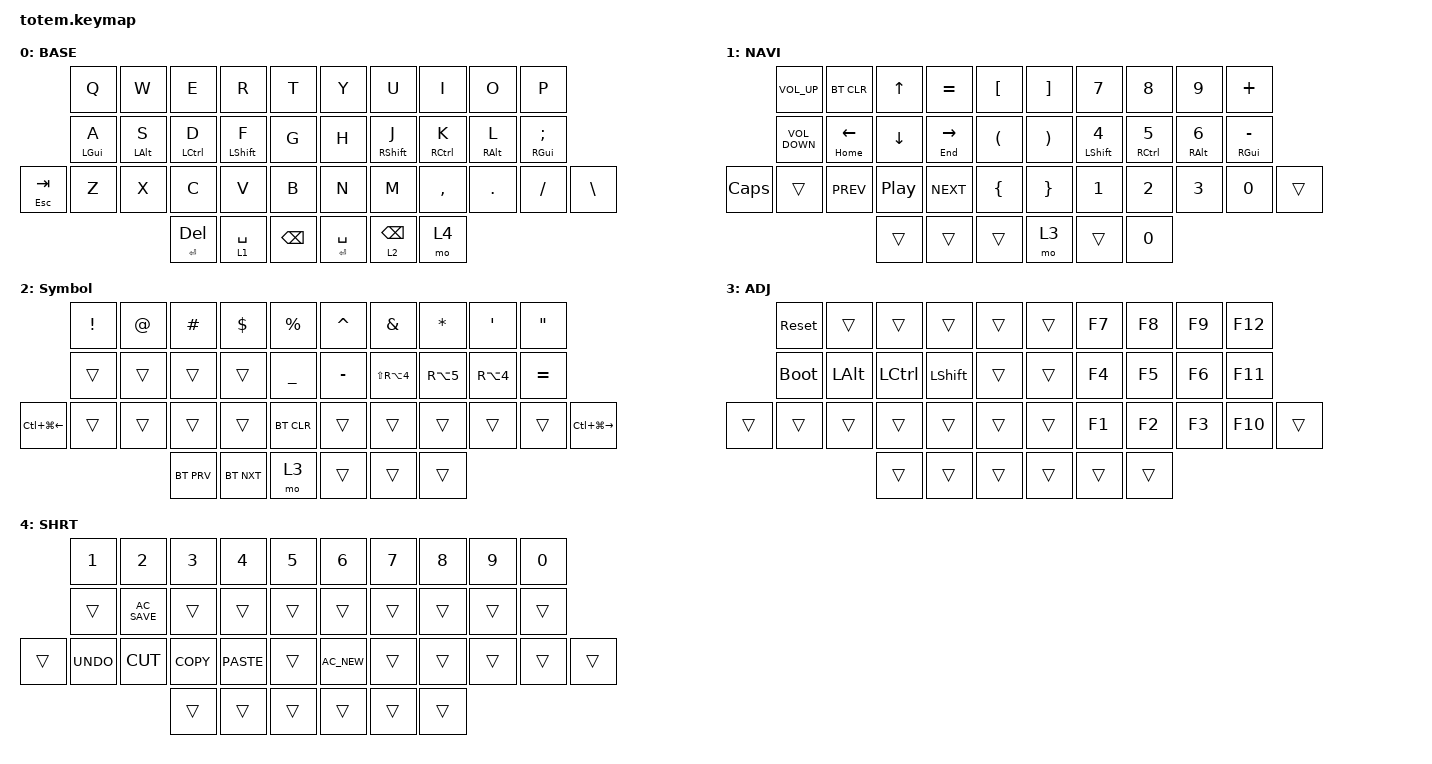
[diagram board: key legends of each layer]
//
//                                                        ▀▀▀▀▀     ▀▀▀▀▀          ▀▀█▀▀
//                                                        ▄▀▀▀▄  ▄  ▄▀▀▀▄  ▄  ▄▀▀▀▄  █  ▄▀▀▀▄
//                                                        █   █  █  █   █  █  █   █  █  █   █
//                                                         ▀▀▀   █   ▀▀▀   █   ▀▀▀   ▀   ▀▀▀
//                                                               █      ▄▄▄█▄▄▄    █   █  
//                                                               ▀      █  █  █     █▄█
//                                                             ▀▀▀▀▀    █  █  █      ▀
//                                                                      ▀  ▀  ▀
//
// ▄▄▄▄▄▄▄▄▄▄▄▄▄▄▄▄▄▄▄▄▄▄▄▄▄▄▄▄▄▄▄▄▄▄▄▄▄▄▄▄▄▄▄▄▄▄▄▄▄▄▄▄▄▄▄▄▄▄▄▄▄▄▄▄▄▄▄▄▄▄▄▄▄▄▄▄▄▄▄▄▄▄▄▄▄▄▄▄▄▄▄▄▄▄▄▄▄▄▄▄▄▄▄▄▄▄▄▄▄▄▄▄▄▄▄▄▄▄▄▄▄▄▄▄▄▄▄▄▄▄▄▄▄▄▄▄▄▄▄▄▄▄▄▄▄▄▄▄▄

#include <behaviors.dtsi>
#include <dt-bindings/zmk/bt.h>
#include <dt-bindings/zmk/keys.h>

#define BASE 0
#define NAV  1
#define SYM  2
#define ADJ  3
#define ADJ  4

&mt {
    quick-tap-ms = <100>;
    global-quick-tap;
    flavor = "tap-preferred";
    tapping-term-ms = <170>;
};

/ {
    combos {
        compatible = "zmk,combos";

        combo_esc {
            timeout-ms = <50>;
            key-positions = <0 1>;
            bindings = <&kp ESC>;
        };

        SHRT {
            bindings = <&mo 4>;
            key-positions = <20 21>;
        };

        nxtline {
            bindings = <&kp RETURN>;
            key-positions = <34 35>;
        };

        tbz {
            bindings = <&kp TAB>;
            key-positions = <20 10>;
        };

        mute {
            bindings = <&kp K_MUTE>;
            key-positions = <0 10>;
            layers = <1>;
        };
    };

    keymap {
        compatible = "zmk,keymap";

        // ▄▄▄▄▄▄▄▄▄▄▄▄▄▄▄▄▄▄▄▄▄▄▄▄▄▄▄▄▄▄▄▄▄▄▄▄▄▄▄▄▄▄▄▄▄▄▄▄▄▄▄▄▄▄▄▄▄▄▄▄▄▄▄▄▄▄▄▄▄▄▄▄▄▄▄▄▄▄▄▄▄▄▄▄▄▄▄▄▄▄▄▄▄▄▄▄▄▄▄▄▄▄▄▄▄▄▄▄▄▄▄▄▄▄▄▄▄▄▄▄▄▄▄▄▄▄▄▄▄▄▄▄▄▄▄▄▄▄▄▄▄▄▄▄▄▄▄▄▄

        base_layer {
            // ┏━━━━━━━━━━━━━━━━━━━━━━━━━━━━━━━━━━━━━━━┓

            label = "BASE";

            // ┗━━━━━━━━━━━━━━━━━━━━━━━━━━━━━━━━━━━━━━━┛
            //             ┏━━━━━━━━━━━┳━━━━━━━━━━━┳━━━━━━━━━━━┳━━━━━━━━━━━┳━━━━━━━━━━━┓   ┏━━━━━━━━━━━┳━━━━━━━━━━━┳━━━━━━━━━━━┳━━━━━━━━━━━┳━━━━━━━━━━━┓
            //             ┃     Q     ┃     W     ┃     E     ┃     R     ┃     T     ┃   ┃     Y     ┃     U     ┃     I     ┃     O     ┃     P     ┃
            //             ┣━━━━━━━━━━━╋━━━━━━━━━━━╋━━━━━━━━━━━╋━━━━━━━━━━━╋━━━━━━━━━━━┫   ┣━━━━━━━━━━━╋━━━━━━━━━━━╋━━━━━━━━━━━╋━━━━━━━━━━━╋━━━━━━━━━━━┫
            //             ┃     A     ┃     S     ┃     D     ┃     F     ┃     G     ┃   ┃     H     ┃     J     ┃     K     ┃     L     ┃     ;     ┃
            // ┏━━━━━━━━━━━╋━━━━━━━━━━━╋━━━━━━━━━━━╋━━━━━━━━━━━╋━━━━━━━━━━━╋━━━━━━━━━━━┫   ┣━━━━━━━━━━━╋━━━━━━━━━━━╋━━━━━━━━━━━╋━━━━━━━━━━━╋━━━━━━━━━━━╋━━━━━━━━━━━┓
            // ┃     Q     ┃     Z     ┃     X     ┃     C     ┃     V     ┃     B     ┃   ┃     N     ┃     M     ┃     ,     ┃     .     ┃     /     ┃     \     ┃
            // ┗━━━━━━━━━━━┻━━━━━━━━━━━┻━━━━━━━━━━━╋━━━━━━━━━━━╋━━━━━━━━━━━╋━━━━━━━━━━━┫   ┣━━━━━━━━━━━╋━━━━━━━━━━━╋━━━━━━━━━━━╋━━━━━━━━━━━┻━━━━━━━━━━━┻━━━━━━━━━━━┛
            //                                     ┃    DEL    ┃    TAB    ┃    SPC    ┃   ┃   ENTER   ┃           ┃   BSPC    ┃
            //                                     ┗━━━━━━━━━━━┻━━━━━━━━━━━┻━━━━━━━━━━━┛   ┗━━━━━━━━━━━┻━━━━━━━━━━━┻━━━━━━━━━━━┛

            bindings = <
                &kp Q       &kp W       &kp E             &kp R        &kp T            &kp Y            &kp U            &kp I        &kp O       &kp P
                &mt LGUI A  &mt LALT S  &mt LCTRL D       &mt LSHFT F  &kp G            &kp H            &mt RSHFT J      &mt RCTRL K  &mt RALT L  &mt RGUI SEMI
&mt ESCAPE TAB  &kp Z       &kp X       &kp C             &kp V        &kp B            &kp N            &kp M            &kp COMMA    &kp DOT     &kp FSLH       &kp BSLH
                                        &mt ENTER DELETE  &lt 1 SPACE  &kp BACKSPACE    &mt ENTER SPACE  &lt 2 BACKSPACE  &mo 4
            >;
        };

        // ▄▄▄▄▄▄▄▄▄▄▄▄▄▄▄▄▄▄▄▄▄▄▄▄▄▄▄▄▄▄▄▄▄▄▄▄▄▄▄▄▄▄▄▄▄▄▄▄▄▄▄▄▄▄▄▄▄▄▄▄▄▄▄▄▄▄▄▄▄▄▄▄▄▄▄▄▄▄▄▄▄▄▄▄▄▄▄▄▄▄▄▄▄▄▄▄▄▄▄▄▄▄▄▄▄▄▄▄▄▄▄▄▄▄▄▄▄▄▄▄▄▄▄▄▄▄▄▄▄▄▄▄▄▄▄▄▄▄▄▄▄▄▄▄▄▄▄▄▄

        nav_layer {
            // ┏━━━━━━━━━━━━━━━━━━━━━━━━━━━━━━━━━━━━━━━┓

            label = "NAVI";

            // ┗━━━━━━━━━━━━━━━━━━━━━━━━━━━━━━━━━━━━━━━┛
            //             ┏━━━━━━━━━━━┳━━━━━━━━━━━┳━━━━━━━━━━━┳━━━━━━━━━━━┳━━━━━━━━━━━┓   ┏━━━━━━━━━━━┳━━━━━━━━━━━┳━━━━━━━━━━━┳━━━━━━━━━━━┳━━━━━━━━━━━┓
            //             ┃           ┃           ┃     UP    ┃           ┃     {     ┃   ┃     }     ┃     7     ┃     8     ┃     9     ┃     +     ┃
            //             ┣━━━━━━━━━━━╋━━━━━━━━━━━╋━━━━━━━━━━━╋━━━━━━━━━━━╋━━━━━━━━━━━┫   ┣━━━━━━━━━━━╋━━━━━━━━━━━╋━━━━━━━━━━━╋━━━━━━━━━━━╋━━━━━━━━━━━┫
            //             ┃   SHIFT   ┃   LEFT    ┃    DOWN   ┃   RIGHT   ┃     [     ┃   ┃     ]     ┃     4     ┃     5     ┃     6     ┃     -     ┃
            // ┏━━━━━━━━━━━╋━━━━━━━━━━━╋━━━━━━━━━━━╋━━━━━━━━━━━╋━━━━━━━━━━━╋━━━━━━━━━━━┫   ┣━━━━━━━━━━━╋━━━━━━━━━━━╋━━━━━━━━━━━╋━━━━━━━━━━━╋━━━━━━━━━━━╋━━━━━━━━━━━┓
            // ┃           ┃           ┃   P UP    ┃  C LOCK   ┃  P DOWN   ┃     (     ┃   ┃     )     ┃     1     ┃     2     ┃     3     ┃     *     ┃           ┃
            // ┗━━━━━━━━━━━┻━━━━━━━━━━━┻━━━━━━━━━━━╋━━━━━━━━━━━╋━━━━━━━━━━━╋━━━━━━━━━━━┫   ┣━━━━━━━━━━━╋━━━━━━━━━━━╋━━━━━━━━━━━╋━━━━━━━━━━━┻━━━━━━━━━━━┻━━━━━━━━━━━┛
            //                                     ┃           ┃    TAB    ┃    SPC    ┃   ┃    DEL    ┃     0     ┃           ┃
            //                                     ┗━━━━━━━━━━━┻━━━━━━━━━━━┻━━━━━━━━━━━┛   ┗━━━━━━━━━━━┻━━━━━━━━━━━┻━━━━━━━━━━━┛

            bindings = <
          &kp C_VOLUME_UP    &bt BT_CLR           &kp UP_ARROW      &kp EQUAL            &kp LEFT_BRACKET        &kp RIGHT_BRACKET      &kp NUMBER_7             &kp NUMBER_8  &kp NUMBER_9            &kp PLUS
          &kp C_VOLUME_DOWN  &mt HOME LEFT_ARROW  &kp DOWN          &mt END RIGHT_ARROW  &kp LEFT_PARENTHESIS    &kp RIGHT_PARENTHESIS  &mt LEFT_SHIFT NUMBER_4  &mt RCTRL N5  &mt RIGHT_ALT NUMBER_6  &mt RGUI MINUS
&kp CAPS  &trans             &kp C_PREV           &kp C_PLAY_PAUSE  &kp C_NEXT           &kp LEFT_BRACE          &kp RIGHT_BRACE        &kp NUMBER_1             &kp NUMBER_2  &kp NUMBER_3            &kp NUMBER_0    &trans
                                                  &trans            &trans               &trans                  &mo 3                  &trans                   &kp N0
            >;
        };

        // ▄▄▄▄▄▄▄▄▄▄▄▄▄▄▄▄▄▄▄▄▄▄▄▄▄▄▄▄▄▄▄▄▄▄▄▄▄▄▄▄▄▄▄▄▄▄▄▄▄▄▄▄▄▄▄▄▄▄▄▄▄▄▄▄▄▄▄▄▄▄▄▄▄▄▄▄▄▄▄▄▄▄▄▄▄▄▄▄▄▄▄▄▄▄▄▄▄▄▄▄▄▄▄▄▄▄▄▄▄▄▄▄▄▄▄▄▄▄▄▄▄▄▄▄▄▄▄▄▄▄▄▄▄▄▄▄▄▄▄▄▄▄▄▄▄▄▄▄▄
        // ▄▄▄▄▄▄▄▄▄▄▄▄▄▄▄▄▄▄▄▄▄▄▄▄▄▄▄▄▄▄▄▄▄▄▄▄▄▄▄▄▄▄▄▄▄▄▄▄▄▄▄▄▄▄▄▄▄▄▄▄▄▄▄▄▄▄▄▄▄▄▄▄▄▄▄▄▄▄▄▄▄▄▄▄▄▄▄▄▄▄▄▄▄▄▄▄▄▄▄▄▄▄▄▄▄▄▄▄▄▄▄▄▄▄▄▄▄▄▄▄▄▄▄▄▄

        Symbol {
            // ┌───────────────────────────────────────────────────────────┐

            label = "Symbol";

            // └───────────────────────────────────────────────────────────┘
            //             ┏━━━━━━━━━━━┳━━━━━━━━━━━┳━━━━━━━━━━━┳━━━━━━━━━━━┳━━━━━━━━━━━┓   ┏━━━━━━━━━━━┳━━━━━━━━━━━┳━━━━━━━━━━━┳━━━━━━━━━━━┳━━━━━━━━━━━┓
            //             ┃     Q     ┃     W     ┃     F     ┃     P     ┃     B     ┃   ┃     J     ┃     L     ┃     U     ┃     Y     ┃     ;     ┃
            //             ┣━━━━━━━━━━━╋━━━━━━━━━━━╋━━━━━━━━━━━╋━━━━━━━━━━━╋━━━━━━━━━━━┫   ┣━━━━━━━━━━━╋━━━━━━━━━━━╋━━━━━━━━━━━╋━━━━━━━━━━━╋━━━━━━━━━━━┫
            //             ┃     A     ┃     R     ┃     S     ┃     T     ┃     G     ┃   ┃     M     ┃     N     ┃     E     ┃     I     ┃     O     ┃
            // ┏━━━━━━━━━━━╋━━━━━━━━━━━╋━━━━━━━━━━━╋━━━━━━━━━━━╋━━━━━━━━━━━╋━━━━━━━━━━━┫   ┣━━━━━━━━━━━╋━━━━━━━━━━━╋━━━━━━━━━━━╋━━━━━━━━━━━╋━━━━━━━━━━━╋━━━━━━━━━━━┓
            // ┃           ┃     Z     ┃     X     ┃     C     ┃      D    ┃     V     ┃   ┃     K     ┃     H     ┃     ,     ┃     .     ┃     \     ┃           ┃
            // ┗━━━━━━━━━━━┻━━━━━━━━━━━┻━━━━━━━━━━━╋━━━━━━━━━━━╋━━━━━━━━━━━╋━━━━━━━━━━━┫   ┣━━━━━━━━━━━╋━━━━━━━━━━━╋━━━━━━━━━━━╋━━━━━━━━━━━┻━━━━━━━━━━━┻━━━━━━━━━━━┛
            //                                     ┃           ┃    GIF    ┃    ADJ    ┃   ┃           ┃           ┃           ┃
            //                                     ┗━━━━━━━━━━━┻━━━━━━━━━━━┻━━━━━━━━━━━┛   ┗━━━━━━━━━━━┻━━━━━━━━━━━┻━━━━━━━━━━━┛

            bindings = <
                        &kp EXCL  &kp AT  &kp HASH    &kp DLLR    &kp PRCNT         &kp CARET  &kp AMPS        &kp ASTERISK  &kp SQT     &kp DQT
                        &trans    &trans  &trans      &trans      &kp UNDERSCORE    &kp MINUS  &kp LS(RA(N4))  &kp RA(N5)    &kp RA(N4)  &kp EQUAL
&kp LC(LG(LEFT_ARROW))  &trans    &trans  &trans      &trans      &bt BT_CLR        &trans     &trans          &trans        &trans      &trans     &kp LC(LG(RIGHT))
                                          &bt BT_PRV  &bt BT_NXT  &mo 3             &trans     &trans          &trans
            >;
        };

        // ▄▄▄▄▄▄▄▄▄▄▄▄▄▄▄▄▄▄▄▄▄▄▄▄▄▄▄▄▄▄▄▄▄▄▄▄▄▄▄▄▄▄▄▄▄▄▄▄▄▄▄▄▄▄▄▄▄▄▄▄▄▄▄▄▄▄▄▄▄▄▄▄▄▄▄▄▄▄▄▄▄▄▄▄▄▄▄▄▄▄▄▄▄▄▄▄▄▄▄▄▄▄▄▄▄▄▄▄▄▄▄▄▄▄▄▄▄▄▄▄▄▄▄▄▄▄▄▄▄▄▄▄▄▄▄▄▄▄▄▄▄▄▄▄▄▄▄▄▄

        adjust_layer {
            // ┏━━━━━━━━━━━━━━━━━━━━━━━━━━━━━━━━━━━━━━━┓

            label = "ADJ";

            // ┗━━━━━━━━━━━━━━━━━━━━━━━━━━━━━━━━━━━━━━━┛
            //             ┏━━━━━━━━━━━┳━━━━━━━━━━━┳━━━━━━━━━━━┳━━━━━━━━━━━┳━━━━━━━━━━━┓   ┏━━━━━━━━━━━┳━━━━━━━━━━━┳━━━━━━━━━━━┳━━━━━━━━━━━┳━━━━━━━━━━━┓
            //             ┃   RESET   ┃ BT CLEAR  ┃  OUT TOG  ┃           ┃           ┃   ┃           ┃    F7     ┃    F8     ┃    F9     ┃    F12    ┃
            //             ┣━━━━━━━━━━━╋━━━━━━━━━━━╋━━━━━━━━━━━╋━━━━━━━━━━━╋━━━━━━━━━━━┫   ┣━━━━━━━━━━━╋━━━━━━━━━━━╋━━━━━━━━━━━╋━━━━━━━━━━━╋━━━━━━━━━━━┫
            //             ┃ BOOTLOAD  ┃ BT NEXT   ┃           ┃           ┃           ┃   ┃           ┃    F4     ┃    F5     ┃    F6     ┃    F11    ┃
            // ┏━━━━━━━━━━━╋━━━━━━━━━━━╋━━━━━━━━━━━╋━━━━━━━━━━━╋━━━━━━━━━━━╋━━━━━━━━━━━┫   ┣━━━━━━━━━━━╋━━━━━━━━━━━╋━━━━━━━━━━━╋━━━━━━━━━━━╋━━━━━━━━━━━╋━━━━━━━━━━━┓
            // ┃           ┃           ┃ BT PREV   ┃           ┃           ┃           ┃   ┃           ┃    F1     ┃    F2     ┃    F3     ┃    F10    ┃           ┃
            // ┗━━━━━━━━━━━┻━━━━━━━━━━━┻━━━━━━━━━━━╋━━━━━━━━━━━╋━━━━━━━━━━━╋━━━━━━━━━━━┫   ┣━━━━━━━━━━━╋━━━━━━━━━━━╋━━━━━━━━━━━╋━━━━━━━━━━━┻━━━━━━━━━━━┻━━━━━━━━━━━┛
            //                                     ┃           ┃           ┃           ┃   ┃           ┃           ┃           ┃
            //                                     ┗━━━━━━━━━━━┻━━━━━━━━━━━┻━━━━━━━━━━━┛   ┗━━━━━━━━━━━┻━━━━━━━━━━━┻━━━━━━━━━━━┛

            bindings = <
        &sys_reset   &trans        &trans     &trans          &trans    &trans  &kp F7  &kp F8  &kp F9  &kp F12
        &bootloader  &kp LEFT_ALT  &kp LCTRL  &kp LEFT_SHIFT  &trans    &trans  &kp F4  &kp F5  &kp F6  &kp F11
&trans  &trans       &trans        &trans     &trans          &trans    &trans  &kp F1  &kp F2  &kp F3  &kp F10  &trans
                                   &trans     &trans          &trans    &trans  &trans  &trans
            >;
        };

        SHRT_layer {
            // ┏━━━━━━━━━━━━━━━━━━━━━━━━━━━━━━━━━━━━━━━┓

            label = "SHRT";

            // ┗━━━━━━━━━━━━━━━━━━━━━━━━━━━━━━━━━━━━━━━┛
            //             ┏━━━━━━━━━━━┳━━━━━━━━━━━┳━━━━━━━━━━━┳━━━━━━━━━━━┳━━━━━━━━━━━┓   ┏━━━━━━━━━━━┳━━━━━━━━━━━┳━━━━━━━━━━━┳━━━━━━━━━━━┳━━━━━━━━━━━┓
            //             ┃   RESET   ┃ BT CLEAR  ┃  OUT TOG  ┃           ┃           ┃   ┃           ┃    F7     ┃    F8     ┃    F9     ┃    F12    ┃
            //             ┣━━━━━━━━━━━╋━━━━━━━━━━━╋━━━━━━━━━━━╋━━━━━━━━━━━╋━━━━━━━━━━━┫   ┣━━━━━━━━━━━╋━━━━━━━━━━━╋━━━━━━━━━━━╋━━━━━━━━━━━╋━━━━━━━━━━━┫
            //             ┃ BOOTLOAD  ┃ BT NEXT   ┃           ┃           ┃           ┃   ┃           ┃    F4     ┃    F5     ┃    F6     ┃    F11    ┃
            // ┏━━━━━━━━━━━╋━━━━━━━━━━━╋━━━━━━━━━━━╋━━━━━━━━━━━╋━━━━━━━━━━━╋━━━━━━━━━━━┫   ┣━━━━━━━━━━━╋━━━━━━━━━━━╋━━━━━━━━━━━╋━━━━━━━━━━━╋━━━━━━━━━━━╋━━━━━━━━━━━┓
            // ┃           ┃           ┃ BT PREV   ┃           ┃           ┃           ┃   ┃           ┃    F1     ┃    F2     ┃    F3     ┃    F10    ┃           ┃
            // ┗━━━━━━━━━━━┻━━━━━━━━━━━┻━━━━━━━━━━━╋━━━━━━━━━━━╋━━━━━━━━━━━╋━━━━━━━━━━━┫   ┣━━━━━━━━━━━╋━━━━━━━━━━━╋━━━━━━━━━━━╋━━━━━━━━━━━┻━━━━━━━━━━━┻━━━━━━━━━━━┛
            //                                     ┃           ┃           ┃           ┃   ┃           ┃           ┃           ┃
            //                                     ┗━━━━━━━━━━━┻━━━━━━━━━━━┻━━━━━━━━━━━┛   ┗━━━━━━━━━━━┻━━━━━━━━━━━┻━━━━━━━━━━━┛

            bindings = <
        &kp NUMBER_1  &kp NUMBER_2   &kp NUMBER_3  &kp NUMBER_4  &kp N5    &kp NUMBER_6  &kp N7  &kp N8  &kp N9  &kp N0
        &trans        &kp C_AC_SAVE  &trans        &trans        &trans    &trans        &trans  &trans  &trans  &trans
&trans  &kp K_UNDO    &kp K_CUT      &kp K_COPY    &kp K_PASTE   &trans    &kp C_AC_NEW  &trans  &trans  &trans  &trans  &trans
                                     &trans        &trans        &trans    &trans        &trans  &trans
            >;
        };
    };
};
